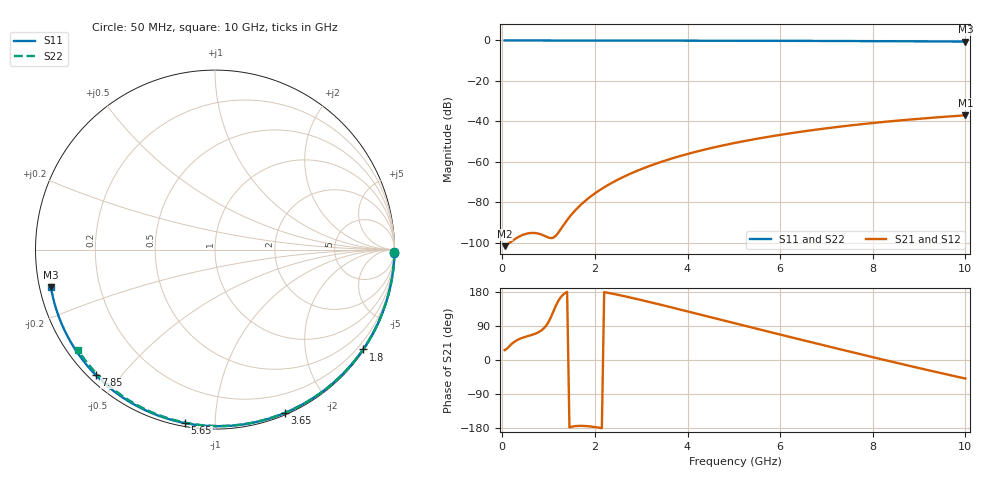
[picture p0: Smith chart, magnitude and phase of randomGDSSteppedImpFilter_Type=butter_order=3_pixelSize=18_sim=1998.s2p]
! freq	dB(S11)	phase(S11)	dB(S12)	phase(S12)
!  dB(S21)	phase(S21)	dB(S22)	phase(S22)
!S-par simulation data
#  GHz  S  DB  R 50
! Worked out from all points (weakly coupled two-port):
!   200 points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, 50 MHz to 10 GHz, reference 50 ohm
!   highest |S21| = -37.03 dB at 10 GHz (marker M1); lowest = -101.8 dB at 50 MHz (marker M2)
!   lowest |S11| = -0.6 dB at 10 GHz (marker M3), VSWR 31.31, Z = 1.62 - j5.65 ohm
!   |S11| at or under -10 dB: nowhere
!   |S22| runs from -0.5 to 0.0 dB; largest |S21 - S12| = 0
!   S11 on the Smith chart (normalised r, x): 50 MHz: open; 1.8 GHz: 0.03, -3.27; 3.65 GHz: 0.02, -1.51; 5.65 GHz: 0.02, -0.84; 7.85 GHz: 0.02, -0.43; 10 GHz: 0.03, -0.11
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0.05  -0.00 -1.0  -101.78 26.2  -101.78 26.2  -0.00 -0.8
0.45  -0.01 -8.6  -96.13 59.2  -96.13 59.2  -0.01 -7.4
0.85  -0.02 -16.2  -96.07 78.6  -96.07 78.6  -0.02 -14.0
1.3  -0.03 -24.7  -92.12 170.9  -92.12 170.9  -0.03 -21.2
1.75  -0.04 -33.1  -80.16 -174.0  -80.16 -174.0  -0.04 -28.4
1.8  -0.04 -34.0  -79.18 -174.3  -79.18 -174.3  -0.04 -29.2
2.1  -0.05 -39.5  -74.09 -178.8  -74.09 -178.8  -0.04 -34.0
2.3  -0.06 -43.1  -71.29 176.9  -71.29 176.9  -0.05 -37.1
2.5  -0.06 -46.7  -68.82 172.0  -68.82 172.0  -0.05 -40.3
2.9  -0.07 -53.9  -64.60 161.1  -64.60 161.1  -0.06 -46.5
3.4  -0.08 -62.6  -60.32 146.5  -60.32 146.5  -0.07 -54.1
3.65  -0.09 -66.9  -58.48 138.9  -58.48 138.9  -0.08 -57.8
4.3  -0.11 -77.9  -54.38 119.0  -54.38 119.0  -0.10 -67.4
5.05  -0.14 -90.2  -50.57 96.0  -50.57 96.0  -0.12 -78.1
5.65  -0.17 -99.8  -48.03 77.7  -48.03 77.7  -0.14 -86.5
6.15  -0.19 -107.6  -46.18 62.6  -46.18 62.6  -0.17 -93.3
6.7  -0.23 -116.1  -44.36 46.1  -44.36 46.1  -0.19 -100.7
7.25  -0.27 -124.5  -42.75 29.6  -42.75 29.6  -0.23 -107.9
7.85  -0.32 -133.6  -41.20 11.9  -41.20 11.9  -0.27 -115.7
8.35  -0.36 -141.3  -40.06 -2.7  -40.06 -2.7  -0.31 -122.2
9.2  -0.45 -154.4  -38.38 -27.0  -38.38 -27.0  -0.39 -133.1
10  -0.55 -167.1  -37.03 -48.9  -37.03 -48.9  -0.48 -143.7
